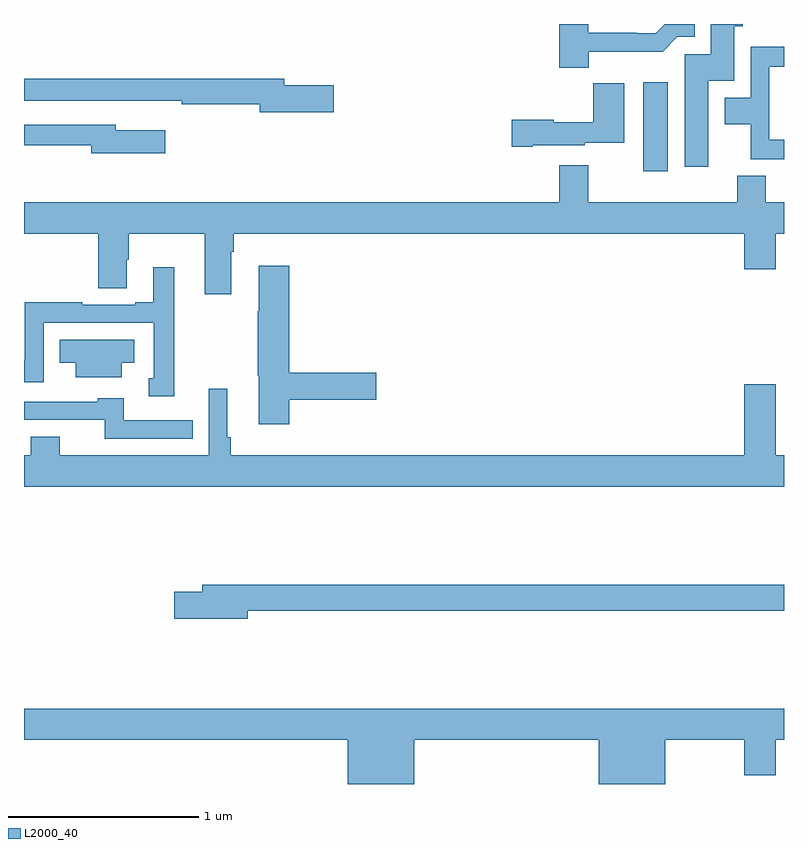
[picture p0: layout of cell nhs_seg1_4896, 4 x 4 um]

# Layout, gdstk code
import gdstk
lib = gdstk.Library(unit=1e-6, precision=1e-09)
def R(c, l, rs):  # rectangles x0, y0, x1, y1
    for r in rs: c.add(gdstk.rectangle(r[:2], r[2:], *l))
def P(c, l, *ps):  # polygons
    for p in ps: c.add(gdstk.Polygon(p, *l))
L2000_40 = (2000, 40)

nhs_seg1_4896 = lib.new_cell('nhs_seg1_4896')
R(nhs_seg1_4896, L2000_40, [(380.258,521.424,380.389,521.893)])
P(nhs_seg1_4896, L2000_40, [(380.602,521.9),(380.737,521.9),(380.737,522.187),(380.784,522.187),(380.784,522.199),(380.615,522.199),(380.615,522.039),(380.477,522.039),(380.477,521.448),(380.602,521.448)],
  [(379.972,522.054),(380.361,522.054),(380.439,522.132),(380.53,522.132),(380.53,522.199),(380.373,522.199),(380.324,522.15),(380.225,522.15),(380.225,522.153),(379.969,522.153),(379.969,522.199),(379.817,522.199),(379.817,521.969),(379.972,521.969)],
  [(381,521.59),(380.922,521.59),(380.922,521.973),(381,521.973),(381,522.079),(380.826,522.079),(380.826,521.812),(380.687,521.812),(380.687,521.672),(380.824,521.672),(380.824,521.486),(381,521.486)],
  [(378.631,521.876),(378.37,521.876),(378.37,521.912),(377,521.912),(377,521.796),(377.578,521.796),(377.578,521.795),(377.83,521.795),(377.83,521.776),(378.242,521.776),(378.242,521.734),(378.631,521.734)],
  [(379.678,521.561),(379.95,521.561),(379.95,521.573),(380.158,521.573),(380.158,521.887),(379.996,521.887),(379.996,521.683),(379.788,521.683),(379.788,521.696),(379.566,521.696),(379.566,521.554),(379.678,521.554)],
  [(377.743,521.641),(377.482,521.641),(377.482,521.67),(377,521.67),(377,521.562),(377.354,521.562),(377.354,521.519),(377.743,521.519)],
  [(378.091,521),(378.104,521),(378.104,521.096),(380.792,521.096),(380.792,520.908),(380.956,520.908),(380.956,521.096),(381,521.096),(381,521.26),(380.905,521.26),(380.905,521.401),(380.753,521.401),(380.753,521.26),(379.969,521.26),(379.969,521.455),(379.817,521.455),(379.817,521.26),(377,521.26),(377,521.096),(377.39,521.096),(377.39,520.807),(377.542,520.807),(377.542,520.958),(377.55,520.958),(377.55,521.096),(377.951,521.096),(377.951,520.776),(378.091,520.776)],
  [(378.395,520.222),(378.853,520.222),(378.853,520.364),(378.395,520.364),(378.395,520.927),(378.236,520.927),(378.236,520.688),(378.229,520.688),(378.229,520.347),(378.236,520.347),(378.236,520.092),(378.395,520.092)],
  [(377.791,520.918),(377.681,520.918),(377.681,520.735),(377.585,520.735),(377.585,520.722),(377.306,520.722),(377.306,520.735),(377.005,520.735),(377.005,520.43),(377,520.43),(377,520.314),(377.103,520.314),(377.103,520.626),(377.682,520.626),(377.682,520.335),(377.657,520.335),(377.657,520.241),(377.791,520.241)],
  [(377.515,520.415),(377.581,520.415),(377.581,520.537),(377.188,520.537),(377.188,520.415),(377.273,520.415),(377.273,520.34),(377.515,520.34)],
  [(381,519.928),(380.956,519.928),(380.956,520.303),(380.792,520.303),(380.792,519.928),(378.089,519.928),(378.089,520.024),(378.07,520.024),(378.07,520.279),(377.973,520.279),(377.973,519.928),(377.188,519.928),(377.188,520.027),(377.036,520.027),(377.036,519.928),(377,519.928),(377,519.764),(381,519.764)],
  [(377.888,520.113),(377.524,520.113),(377.524,520.228),(377.388,520.228),(377.388,520.212),(377,520.212),(377,520.116),(377.425,520.116),(377.425,520.017),(377.888,520.017)],
  [(378.178,519.112),(381,519.112),(381,519.248),(377.939,519.248),(377.939,519.212),(377.79,519.212),(377.79,519.07),(378.178,519.07)],
  [(379.054,518.432),(380.024,518.432),(380.024,518.199),(380.374,518.199),(380.374,518.432),(380.792,518.432),(380.792,518.244),(380.956,518.244),(380.956,518.432),(381,518.432),(381,518.596),(377,518.596),(377,518.432),(378.704,518.432),(378.704,518.199),(379.054,518.199)])

lib.write_gds('nhs_seg1_4896.gds')
